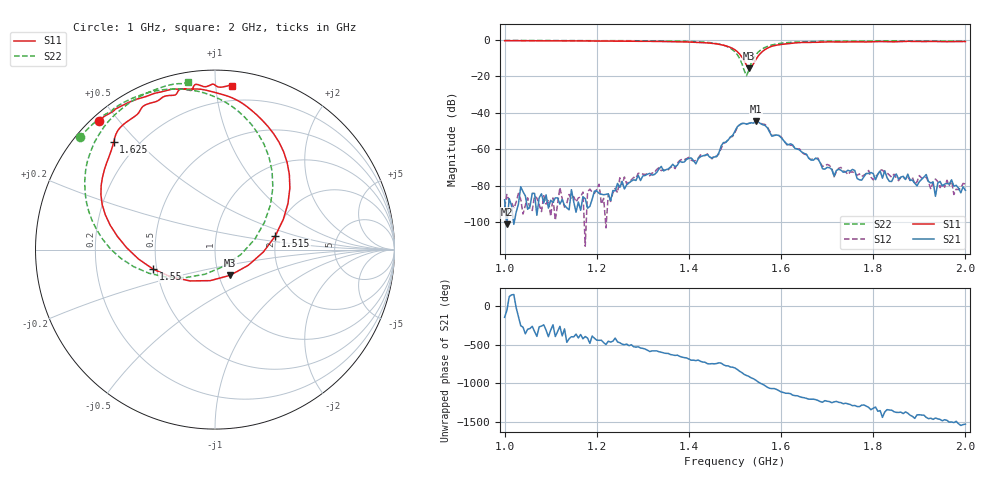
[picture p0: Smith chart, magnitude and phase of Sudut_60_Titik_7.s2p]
# Hz S RI R 50
! CMT, C1220, 16058040, 17.2.0/1
! Date: 14/08/2018 12:12:36
! Data: Format (Calibration Info)
! Freq  S11: Re/Im (F2)  S21: Re/Im (F2)  S12: Re/Im (F2)  S22: Re/Im (F2)
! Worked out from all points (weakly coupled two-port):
!   201 points, 1 GHz to 2 GHz, reference 50 ohm
!   highest |S21| = -44.63 dB at 1.545 GHz (marker M1); lowest = -101.3 dB at 1.005 GHz (marker M2)
!   lowest |S11| = -15.6 dB at 1.53 GHz (marker M3), VSWR 1.40, Z = 56.7 - j16.7 ohm
!   |S11| at or under -10 dB: 1.517 GHz to 1.547 GHz (30.35 MHz wide, 1.98 % of centre)
!   |S22| runs from -19.5 to -0.2 dB; largest |S21 - S12| = 0.0003
!   S11 on the Smith chart (normalised r, x): 1 GHz: 0.02, +0.44; 1.515 GHz: 1.97, +0.33; 1.55 GHz: 0.48, -0.12; 1.625 GHz: 0.11, +0.43; 2 GHz: 0.10, +1.11
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1e9  -0.6461 0.7147  -3.33e-05 -2.34e-05  2.44e-05 2.67e-06  -0.7535 0.6252
1.005e9  -0.6389 0.7198  4.99e-06 -7e-06  7e-06 5.67e-05  -0.7499 0.6292
1.17e9  -0.476 0.8222  2.17e-05 -4.42e-05  5.46e-05 -3.81e-05  -0.6165 0.7508
1.26e9  -0.3414 0.8693  -6.25e-05 -5.15e-05  -0.000149 -8.68e-05  -0.5224 0.8124
1.335e9  -0.2168 0.8942  -0.000175 0.000225  -0.000144 0.000276  -0.4003 0.8657
1.46e9  0.2313 0.752  0.000568 -0.00027  0.000542 -0.000316  0.0937 0.7985
1.5e9  0.4171 0.3426  0.000376 -0.00315  0.00034 -0.0029  0.3225 0.3475
1.515e9  0.3349 0.0745  -0.00405 -0.00306  -0.00398 -0.0032  0.2208 0.0563
1.53e9  0.0848 -0.143  -0.00502 0.00106  -0.00504 0.00101  -0.0554 -0.1371
1.545e9  -0.2456 -0.152  -0.00291 0.00509  -0.00298 0.00503  -0.3683 -0.1317
1.55e9  -0.3431 -0.1098  -0.00071 0.00563  -0.000894 0.00557  -0.4531 -0.0952
1.625e9  -0.564 0.6005  0.000358 -0.00128  0.000431 -0.0012  -0.7019 0.5202
1.67e9  -0.4435 0.7447  -0.000305 -0.000396  -0.000296 -0.000487  -0.626 0.6725
1.715e9  -0.3615 0.8158  -0.000176 -5.51e-05  -0.000167 -4.92e-05  -0.5507 0.7582
1.73e9  -0.3233 0.8268  -0.000263 -3.48e-05  -0.000313 3.8e-05  -0.5266 0.7787
1.775e9  -0.2333 0.8595  -0.000128 5.98e-05  -0.000156 8.58e-05  -0.4603 0.8282
1.825e9  -0.1628 0.893  0.000103 0.000236  1.53e-05 0.00023  -0.3893 0.8674
1.835e9  -0.1417 0.8872  -5.2e-06 0.000131  7.72e-05 0.000178  -0.376 0.8739
1.875e9  -0.1029 0.9208  0.000131 0.00016  0.000138 0.000119  -0.3201 0.8965
1.895e9  -0.0641 0.9083  8.62e-05 4.69e-05  0.000112 5.96e-05  -0.2913 0.9063
1.915e9  -0.0275 0.9161  0.000201 -1.3e-05  0.000168 -2.41e-05  -0.2646 0.9144
2e9  0.0974 0.9116  -2.17e-06 -7.42e-05  1.26e-05 -0.00011  -0.1523 0.9331
